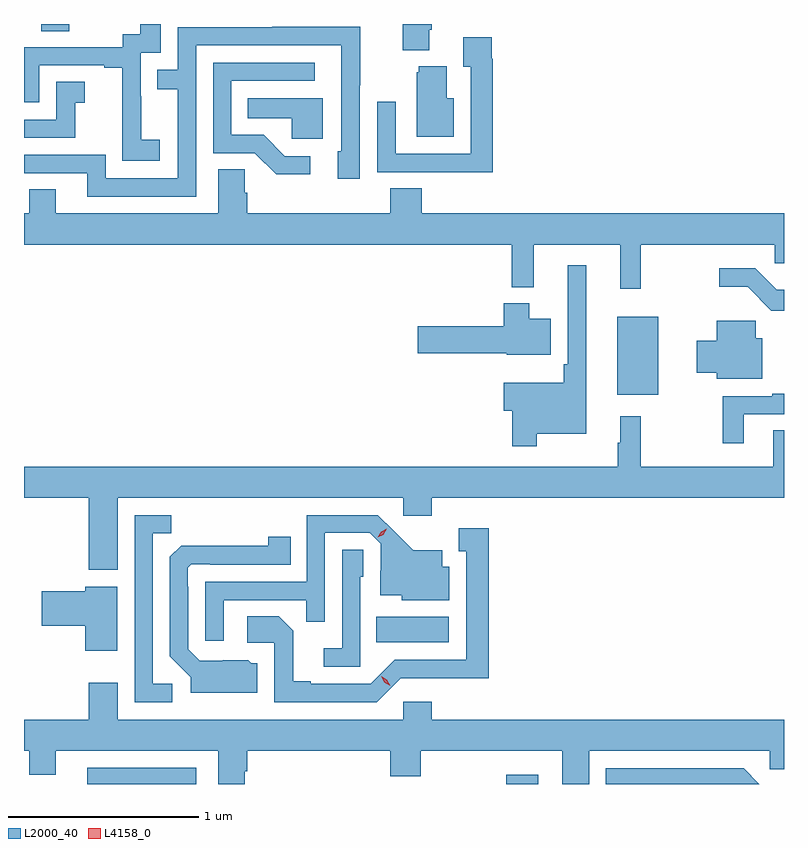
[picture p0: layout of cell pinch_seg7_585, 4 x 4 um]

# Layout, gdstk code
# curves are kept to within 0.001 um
import gdstk
lib = gdstk.Library(unit=1e-6, precision=1e-09)
def R(c, l, rs):  # rectangles x0, y0, x1, y1
    for r in rs: c.add(gdstk.rectangle(r[:2], r[2:], *l))
def P(c, l, *ps):  # polygons
    for p in ps: c.add(gdstk.Polygon(p, *l))
L2000_40 = (2000, 40)
L4158_0 = (4158, 0)

pinch_seg7_585 = lib.new_cell('pinch_seg7_585')
R(pinch_seg7_585, L2000_40, [(168.479,1027.081,169.053,1027.167), (170.685,1027.081,170.854,1027.129), (170.002,1027.826,170.383,1027.96), (171.269,1029.131,171.484,1029.541), (168.238,1031.044,168.385,1031.081)])
P(pinch_seg7_585, L2000_40, [(170.281,1031.05),(170.294,1031.05),(170.294,1031.081),(170.141,1031.081),(170.141,1030.943),(170.281,1030.943)],
  [(168.862,1030.471),(168.764,1030.471),(168.764,1030.7),(168.762,1030.7),(168.762,1030.929),(168.867,1030.929),(168.867,1031.081),(168.759,1031.081),(168.759,1031.028),(168.666,1031.028),(168.666,1030.959),(168.147,1030.959),(168.147,1030.668),(168.228,1030.668),(168.228,1030.863),(168.569,1030.863),(168.569,1030.851),(168.665,1030.851),(168.665,1030.567),(168.664,1030.567),(168.664,1030.361),(168.862,1030.361)],
  [(169.053,1030.968),(169.817,1030.968),(169.817,1030.735),(169.818,1030.735),(169.818,1030.41),(169.799,1030.41),(169.799,1030.266),(169.914,1030.266),(169.914,1030.759),(169.917,1030.759),(169.917,1031.066),(169.453,1031.066),(169.453,1031.064),(168.957,1031.064),(168.957,1030.839),(168.847,1030.839),(168.847,1030.738),(168.957,1030.738),(168.957,1030.269),(168.576,1030.269),(168.576,1030.392),(168.147,1030.392),(168.147,1030.296),(168.479,1030.296),(168.479,1030.173),(169.053,1030.173)],
  [(170.615,1030.898),(170.608,1030.898),(170.608,1031.011),(170.459,1031.011),(170.459,1030.855),(170.499,1030.855),(170.499,1030.398),(170.103,1030.398),(170.103,1030.672),(170.007,1030.672),(170.007,1030.302),(170.323,1030.302),(170.323,1030.301),(170.615,1030.301)],
  [(169.654,1030.386),(169.519,1030.386),(169.408,1030.497),(169.239,1030.497),(169.239,1030.782),(169.678,1030.782),(169.678,1030.878),(169.143,1030.878),(169.143,1030.401),(169.362,1030.401),(169.475,1030.289),(169.654,1030.289)],
  [(170.41,1030.69),(170.371,1030.69),(170.371,1030.858),(170.225,1030.858),(170.225,1030.827),(170.213,1030.827),(170.213,1030.487),(170.41,1030.487)],
  [(168.417,1030.667),(168.466,1030.667),(168.466,1030.777),(168.318,1030.777),(168.318,1030.578),(168.147,1030.578),(168.147,1030.482),(168.417,1030.482)],
  [(169.72,1030.69),(169.324,1030.69),(169.324,1030.586),(169.555,1030.586),(169.555,1030.478),(169.72,1030.478)],
  [(171.394,1029.92),(172.098,1029.92),(172.098,1029.822),(172.147,1029.822),(172.147,1030.084),(170.24,1030.084),(170.24,1030.217),(170.075,1030.217),(170.075,1030.084),(169.322,1030.084),(169.322,1030.193),(169.308,1030.193),(169.308,1030.316),(169.169,1030.316),(169.169,1030.084),(168.313,1030.084),(168.313,1030.211),(168.174,1030.211),(168.174,1030.084),(168.147,1030.084),(168.147,1029.92),(170.713,1029.92),(170.713,1029.695),(170.831,1029.695),(170.831,1029.92),(171.284,1029.92),(171.284,1029.687),(171.394,1029.687)],
  [(170.845,1028.924),(171.106,1028.924),(171.106,1029.811),(171.009,1029.811),(171.009,1029.289),(170.989,1029.289),(170.989,1029.193),(170.672,1029.193),(170.672,1029.046),(170.716,1029.046),(170.716,1028.859),(170.845,1028.859)],
  [(172.147,1029.682),(172.109,1029.682),(171.996,1029.795),(171.807,1029.795),(171.807,1029.698),(171.955,1029.698),(172.081,1029.573),(172.147,1029.573)],
  [(170.92,1029.529),(170.806,1029.529),(170.806,1029.61),(170.672,1029.61),(170.672,1029.489),(170.22,1029.489),(170.22,1029.347),(170.688,1029.347),(170.688,1029.341),(170.92,1029.341)],
  [(172.033,1029.428),(171.997,1029.428),(171.997,1029.52),(171.794,1029.52),(171.794,1029.415),(171.689,1029.415),(171.689,1029.245),(171.794,1029.245),(171.794,1029.215),(172.033,1029.215)],
  [(171.934,1029.027),(172.147,1029.027),(172.147,1029.136),(172.085,1029.136),(172.085,1029.123),(171.825,1029.123),(171.825,1028.874),(171.934,1028.874)],
  [(168.64,1028.588),(170.142,1028.588),(170.142,1028.493),(170.294,1028.493),(170.294,1028.588),(172.147,1028.588),(172.147,1028.942),(172.091,1028.942),(172.091,1028.752),(171.394,1028.752),(171.394,1029.016),(171.284,1029.016),(171.284,1028.876),(171.273,1028.876),(171.273,1028.752),(168.147,1028.752),(168.147,1028.588),(168.488,1028.588),(168.488,1028.208),(168.64,1028.208)],
  [(169.197,1028.049),(169.633,1028.049),(169.633,1027.936),(169.731,1027.936),(169.731,1028.403),(169.968,1028.403),(170.025,1028.346),(170.025,1028.204),(170.021,1028.204),(170.021,1028.075),(170.136,1028.075),(170.136,1028.048),(170.386,1028.048),(170.386,1028.224),(170.347,1028.224),(170.347,1028.311),(170.195,1028.311),(170.008,1028.496),(169.635,1028.496),(169.635,1028.145),(169.101,1028.145),(169.101,1027.836),(169.197,1027.836)],
  [(168.928,1027.608),(168.825,1027.608),(168.825,1028.401),(168.921,1028.401),(168.921,1028.496),(168.729,1028.496),(168.729,1027.512),(168.928,1027.512)],
  [(170.13,1027.638),(170.593,1027.637),(170.593,1028.428),(170.435,1028.428),(170.435,1028.307),(170.474,1028.307),(170.474,1027.734),(170.097,1027.734),(169.971,1027.608),(169.657,1027.608),(169.657,1027.621),(169.563,1027.621),(169.563,1027.888),(169.487,1027.964),(169.323,1027.964),(169.323,1027.824),(169.464,1027.824),(169.464,1027.512),(170.004,1027.512)],
  [(169.375,1027.716),(169.344,1027.716),(169.328,1027.732),(169.071,1027.731),(169.011,1027.791),(169.011,1028.12),(169.008,1028.12),(169.008,1028.22),(169.026,1028.238),(169.126,1028.238),(169.126,1028.235),(169.55,1028.235),(169.55,1028.382),(169.432,1028.382),(169.432,1028.336),(168.974,1028.335),(168.915,1028.276),(168.915,1027.754),(169.025,1027.644),(169.025,1027.562),(169.375,1027.562)],
  [(169.917,1028.172),(169.932,1028.172),(169.932,1028.315),(169.821,1028.315),(169.821,1027.795),(169.725,1027.795),(169.725,1027.698),(169.917,1027.698)],
  [(168.637,1028.119),(168.47,1028.119),(168.47,1028.096),(168.24,1028.096),(168.24,1027.913),(168.47,1027.913),(168.47,1027.782),(168.637,1027.782)],
  [(169.308,1027.147),(169.322,1027.147),(169.322,1027.256),(170.075,1027.256),(170.075,1027.123),(170.235,1027.123),(170.235,1027.256),(170.981,1027.256),(170.981,1027.081),(171.121,1027.081),(171.121,1027.256),(172.071,1027.256),(172.071,1027.158),(172.147,1027.158),(172.147,1027.42),(170.294,1027.42),(170.294,1027.513),(170.142,1027.513),(170.142,1027.42),(168.64,1027.42),(168.64,1027.615),(168.488,1027.615),(168.488,1027.42),(168.147,1027.42),(168.147,1027.256),(168.174,1027.256),(168.174,1027.129),(168.313,1027.129),(168.313,1027.256),(169.169,1027.256),(169.169,1027.081),(169.308,1027.081)],
  [(171.934,1027.164),(171.21,1027.164),(171.21,1027.081),(172.017,1027.081)])
P(pinch_seg7_585, L4158_0, [(170.008,1028.379),(170.008,1028.379),(170.026,1028.409),(170.056,1028.424),(170.057,1028.424),(170.057,1028.424),(170.039,1028.394),(170.009,1028.379)],
  [(170.074,1027.597),(170.043,1027.616),(170.026,1027.649),(170.026,1027.649),(170.026,1027.649),(170.057,1027.63),(170.074,1027.597),(170.074,1027.597)])

lib.write_gds('pinch_seg7_585.gds')
